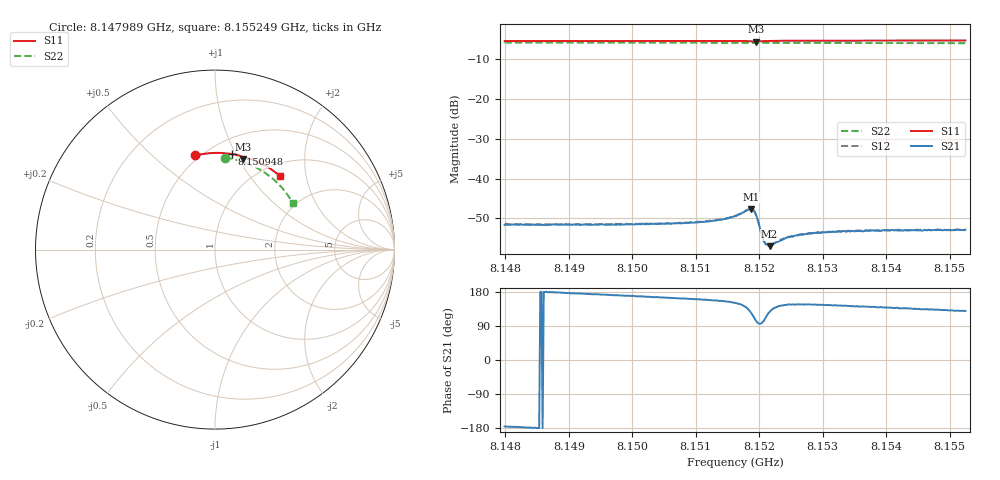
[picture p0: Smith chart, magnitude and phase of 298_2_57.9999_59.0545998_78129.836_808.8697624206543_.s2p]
#  HZ  S  RI  R  50.00
! Rohde & Schwarz Vector Network Analyzer
! Rohde-Schwarz,ZNB20-2Port,1311601062101988,3.16
! Created: UTC 3/21/2024, 1:03:40 AM
! freq[Hz]  re:S11  im:S11  re:S21  im:S21  re:S12  im:S12  re:S22  im:S22
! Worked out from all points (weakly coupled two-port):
!   401 points, 8.147989 GHz to 8.155249 GHz, reference 50 ohm
!   highest |S21| = -47.63 dB at 8.151873 GHz (marker M1); lowest = -57.0 dB at 8.152164 GHz (marker M2)
!   lowest |S11| = -5.5 dB at 8.151946 GHz (marker M3), VSWR 3.25, Z = 37.2 + j52.3 ohm
!   |S11| at or under -10 dB: nowhere
!   |S22| runs from -5.9 to -5.8 dB; largest |S21 - S12| = 0.00012
!   S11 on the Smith chart (normalised r, x): 8.147989 GHz: 0.47, +0.70; 8.150948 GHz: 0.64, +0.97; 8.155249 GHz: 1.21, +1.42
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8.1479889e9  -0.1103 0.5245  -0.00261 -0.000214  -0.00263 -0.00016  0.0578 0.5116
8.1492051e9  -0.0264 0.5374  -0.00262 0.000237  -0.00265 0.000278  0.1356 0.4955
8.1504212e9  0.0583 0.537  -0.00263 0.000687  -0.00262 0.000729  0.2092 0.4677
8.1509476e9  0.095 0.5325  -0.00264 0.000898  -0.00265 0.000979  0.2396 0.4521
8.1513106e9  0.1205 0.5276  -0.00274 0.00115  -0.00275 0.00124  0.2597 0.4403
8.1516192e9  0.1429 0.5214  -0.00293 0.00164  -0.00294 0.00169  0.2764 0.4294
8.1518188e9  0.1572 0.5126  -0.00288 0.00285  -0.00282 0.00293  0.287 0.4219
8.1518733e9  0.1589 0.5085  -0.00235 0.00342  -0.0023 0.00347  0.2895 0.4197
8.1519096e9  0.1584 0.5063  -0.00167 0.00363  -0.00166 0.00368  0.2912 0.4183
8.1519459e9  0.1571 0.5057  -0.000893 0.00346  -0.000822 0.00347  0.2931 0.4171
8.1519822e9  0.1565 0.5072  -0.000384 0.0029  -0.00034 0.00292  0.2949 0.4158
8.1520366e9  0.1587 0.5102  -0.00023 0.002  -0.000239 0.00202  0.2977 0.414
8.1520729e9  0.1614 0.5116  -0.000376 0.0016  -0.000375 0.0016  0.2995 0.4125
8.1521092e9  0.1646 0.5123  -0.000601 0.00137  -0.000569 0.00136  0.3014 0.4114
8.1521456e9  0.1676 0.5126  -0.0008 0.00119  -0.000762 0.00122  0.3035 0.4098
8.1521637e9  0.1691 0.5124  -0.000841 0.00114  -0.000874 0.00117  0.3043 0.4092
8.152436e9  0.1899 0.5081  -0.00149 0.00103  -0.00147 0.00105  0.318 0.3983
8.1526538e9  0.205 0.503  -0.00164 0.00108  -0.00167 0.00112  0.3285 0.3893
8.1528353e9  0.217 0.4985  -0.00169 0.00114  -0.00172 0.00115  0.3372 0.3815
8.1533798e9  0.2519 0.4828  -0.00171 0.0013  -0.00175 0.00132  0.3618 0.3571
8.1540514e9  0.2927 0.4604  -0.00167 0.00148  -0.00166 0.0015  0.3897 0.3249
8.1552494e9  0.3598 0.4123  -0.00144 0.00177  -0.00146 0.00176  0.4319 0.2624
